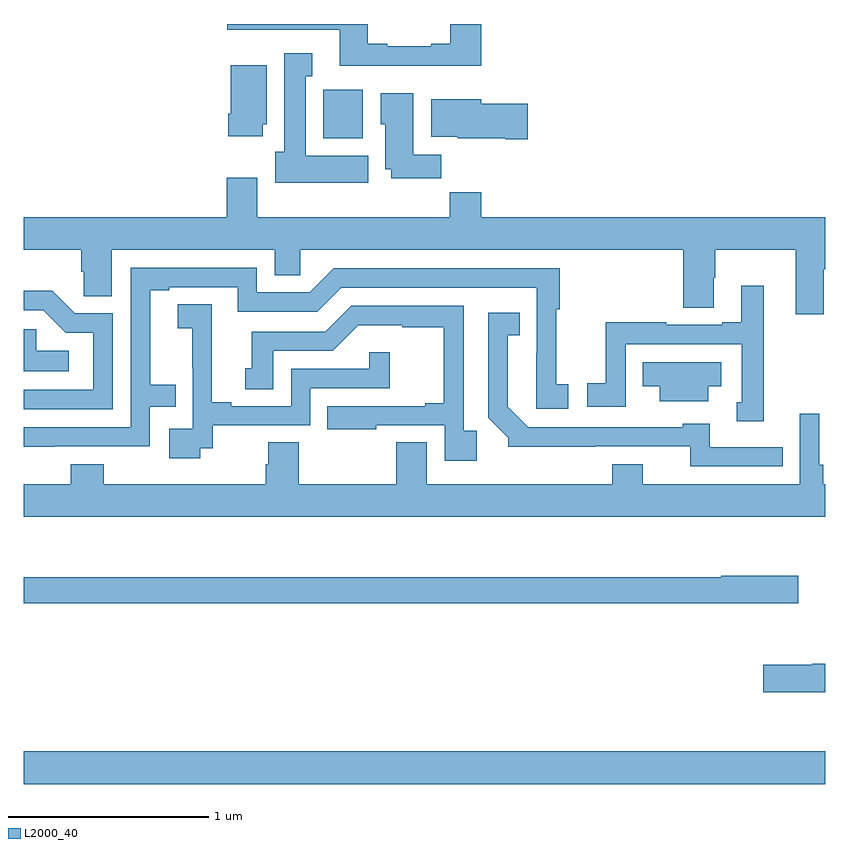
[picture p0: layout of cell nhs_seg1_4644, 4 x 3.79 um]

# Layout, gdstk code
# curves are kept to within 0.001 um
import gdstk
lib = gdstk.Library(unit=1e-6, precision=1e-09)
def R(c, l, rs):  # rectangles x0, y0, x1, y1
    for r in rs: c.add(gdstk.rectangle(r[:2], r[2:], *l))
def P(c, l, *ps):  # polygons
    for p in ps: c.add(gdstk.Polygon(p, *l))
L2000_40 = (2000, 40)

nhs_seg1_4644 = lib.new_cell('nhs_seg1_4644')
R(nhs_seg1_4644, L2000_40, [(363,542.408,367,542.572), (364.496,545.63,364.693,545.872)])
P(nhs_seg1_4644, L2000_40, [(365.282,546.199),(365.129,546.199),(365.129,546.1),(365.033,546.1),(365.033,546.087),(364.813,546.087),(364.813,546.1),(364.717,546.1),(364.717,546.199),(364.017,546.199),(364.017,546.171),(364.577,546.171),(364.577,545.99),(365.282,545.99)],
  [(364.72,545.542),(364.408,545.542),(364.408,545.939),(364.441,545.939),(364.441,546.052),(364.301,546.052),(364.301,545.562),(364.256,545.562),(364.256,545.408),(364.72,545.408)],
  [(364.192,545.7),(364.213,545.7),(364.213,545.992),(364.034,545.992),(364.034,545.752),(364.022,545.752),(364.022,545.64),(364.192,545.64)],
  [(365.084,545.548),(364.945,545.548),(364.945,545.854),(364.781,545.854),(364.781,545.7),(364.805,545.7),(364.805,545.474),(364.835,545.474),(364.835,545.43),(365.084,545.43)],
  [(365.515,545.801),(365.284,545.801),(365.284,545.824),(365.033,545.824),(365.033,545.636),(365.166,545.636),(365.166,545.63),(365.402,545.63),(365.402,545.623),(365.515,545.623)],
  [(366.991,544.976),(367,544.976),(367,545.236),(365.282,545.236),(365.282,545.36),(365.125,545.36),(365.125,545.236),(364.165,545.236),(364.165,545.431),(364.013,545.431),(364.013,545.236),(363,545.236),(363,545.072),(363.287,545.072),(363.287,544.963),(363.3,544.963),(363.3,544.84),(363.439,544.84),(363.439,545.072),(364.253,545.072),(364.253,544.945),(364.38,544.945),(364.38,545.072),(366.29,545.072),(366.29,544.783),(366.442,544.783),(366.442,544.934),(366.45,544.934),(366.45,545.072),(366.851,545.072),(366.851,544.752),(366.991,544.752)],
  [(363.152,544.092),(363.63,544.092),(363.63,544.29),(363.758,544.29),(363.758,544.399),(363.631,544.399),(363.631,544.872),(363.727,544.872),(363.727,544.887),(364.068,544.887),(364.068,544.764),(364.464,544.764),(364.584,544.884),(365.559,544.884),(365.558,544.281),(365.716,544.281),(365.716,544.401),(365.658,544.401),(365.658,544.777),(365.675,544.777),(365.675,544.98),(364.548,544.98),(364.428,544.86),(364.164,544.86),(364.164,544.983),(363.534,544.983),(363.534,544.188),(363,544.188),(363,544.091)],
  [(366.691,544.894),(366.581,544.894),(366.581,544.711),(366.485,544.711),(366.485,544.698),(366.206,544.698),(366.206,544.711),(365.905,544.711),(365.905,544.406),(365.811,544.406),(365.811,544.29),(366.003,544.29),(366.003,544.602),(366.582,544.602),(366.582,544.311),(366.557,544.311),(366.557,544.217),(366.691,544.217)],
  [(363.444,544.755),(363.255,544.755),(363.142,544.868),(363,544.868),(363,544.77),(363.099,544.77),(363.21,544.659),(363.348,544.659),(363.348,544.374),(363,544.374),(363,544.278),(363.444,544.278)],
  [(363.882,544.083),(363.944,544.083),(363.944,544.197),(364.431,544.197),(364.431,544.383),(364.826,544.383),(364.826,544.561),(364.725,544.561),(364.725,544.479),(364.335,544.479),(364.335,544.293),(364.036,544.293),(364.036,544.313),(363.94,544.313),(363.94,544.691),(363.938,544.691),(363.938,544.802),(363.768,544.802),(363.768,544.681),(363.842,544.681),(363.842,544.483),(363.843,544.483),(363.843,544.179),(363.726,544.179),(363.726,544.032),(363.882,544.032)],
  [(365.261,544.171),(365.196,544.171),(365.196,544.794),(364.635,544.794),(364.506,544.665),(364.139,544.665),(364.139,544.482),(364.106,544.482),(364.106,544.378),(364.246,544.378),(364.246,544.569),(364.542,544.569),(364.67,544.697),(364.889,544.697),(364.889,544.686),(365.095,544.686),(365.095,544.306),(365.003,544.306),(365.003,544.293),(364.516,544.293),(364.516,544.178),(364.759,544.178),(364.759,544.197),(365.1,544.197),(365.1,544.02),(365.261,544.02)],
  [(366.788,544.089),(366.424,544.089),(366.424,544.204),(366.288,544.204),(366.288,544.188),(365.517,544.188),(365.416,544.289),(365.416,544.646),(365.474,544.646),(365.474,544.759),(365.319,544.759),(365.319,544.234),(365.418,544.135),(365.418,544.091),(366.325,544.092),(366.325,543.993),(366.788,543.993)],
  [(363.226,544.57),(363.063,544.57),(363.063,544.677),(363,544.677),(363,544.466),(363.226,544.466)],
  [(366.415,544.391),(366.481,544.391),(366.481,544.513),(366.088,544.513),(366.088,544.391),(366.173,544.391),(366.173,544.316),(366.415,544.316)],
  [(367,543.904),(366.989,543.904),(366.989,544),(366.97,544),(366.97,544.255),(366.873,544.255),(366.873,543.904),(366.088,543.904),(366.088,544.003),(365.936,544.003),(365.936,543.904),(365.011,543.904),(365.011,544.112),(364.859,544.112),(364.859,543.904),(364.373,543.904),(364.373,544.112),(364.22,544.112),(364.22,544.002),(364.208,544.002),(364.208,543.904),(363.401,543.904),(363.401,544.003),(363.236,544.003),(363.236,543.904),(363,543.904),(363,543.74),(367,543.74)],
  [(366.865,543.447),(366.48,543.447),(366.48,543.439),(363,543.439),(363,543.31),(366.865,543.31)],
  [(367,543.008),(366.933,543.008),(366.933,543.003),(366.69,543.003),(366.69,542.866),(367,542.866)])

lib.write_gds('nhs_seg1_4644.gds')
